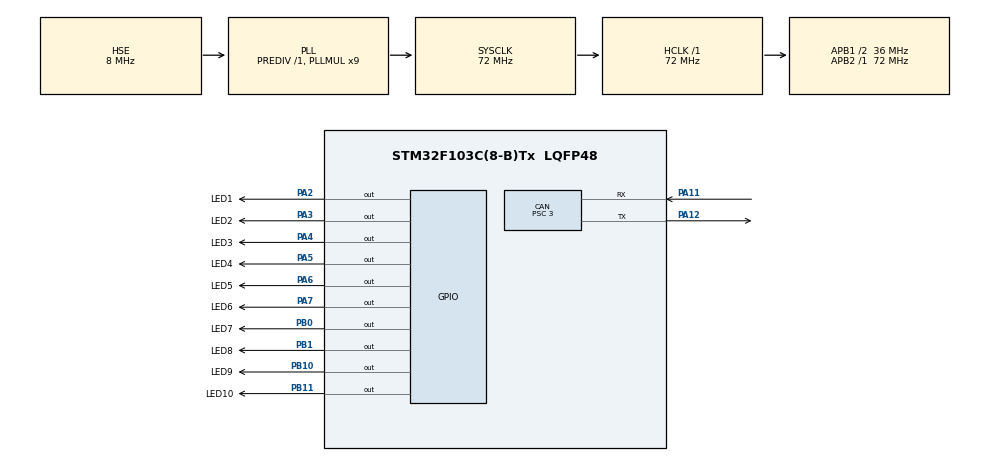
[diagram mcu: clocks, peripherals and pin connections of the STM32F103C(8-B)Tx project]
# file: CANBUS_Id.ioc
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CAN.ABOM=ENABLE
CAN.BS1=CAN_BS1_5TQ
CAN.BS2=CAN_BS2_6TQ
CAN.CalculateTimeBit=1000
CAN.CalculateTimeQuantum=83.33333333333334
CAN.Prescaler=3
Mcu.Family=STM32F1
Mcu.Name=STM32F103C(8-B)Tx
Mcu.Package=LQFP48
NVIC.PriorityGroup=NVIC_PRIORITYGROUP_4
NVIC.USB_LP_CAN1_RX0_IRQn=true\:0\:0\:false\:false\:true\:true
PA11.Mode=Master
PA11.Signal=CAN_RX
PA12.Mode=Master
PA12.Signal=CAN_TX
PA13.Mode=Serial_Wire
PA13.Signal=SYS_JTMS-SWDIO
PA14.Mode=Serial_Wire
PA14.Signal=SYS_JTCK-SWCLK
PA2.GPIO_Label=LED1
PA2.Signal=GPIO_Output
PA3.GPIO_Label=LED2
PA3.Signal=GPIO_Output
PA4.GPIO_Label=LED3
PA4.Signal=GPIO_Output
PA5.GPIO_Label=LED4
PA5.Signal=GPIO_Output
PA6.GPIO_Label=LED5
PA6.Signal=GPIO_Output
PA7.GPIO_Label=LED6
PA7.Signal=GPIO_Output
PB0.GPIO_Label=LED7
PB0.Signal=GPIO_Output
PB1.GPIO_Label=LED8
PB1.Signal=GPIO_Output
PB10.GPIO_Label=LED9
PB10.Signal=GPIO_Output
PB11.GPIO_Label=LED10
PB11.Signal=GPIO_Output
PD0-OSC_IN.Mode=HSE-External-Oscillator
PD0-OSC_IN.Signal=RCC_OSC_IN
PD1-OSC_OUT.Mode=HSE-External-Oscillator
PD1-OSC_OUT.Signal=RCC_OSC_OUT
ProjectManager.HeapSize=0x200
ProjectManager.StackSize=0x400
ProjectManager.TargetToolchain=SW4STM32
RCC.AHBFreq_Value=72000000
RCC.APB1CLKDivider=RCC_HCLK_DIV2
RCC.APB1Freq_Value=36000000
RCC.APB1TimFreq_Value=72000000
RCC.APB2Freq_Value=72000000
RCC.APB2TimFreq_Value=72000000
RCC.HCLKFreq_Value=72000000
RCC.PLLMUL=RCC_PLL_MUL9
RCC.PLLSourceVirtual=RCC_PLLSOURCE_HSE
RCC.SYSCLKFreq_VALUE=72000000
RCC.SYSCLKSource=RCC_SYSCLKSOURCE_PLLCLK
RCC.USBFreq_Value=72000000
board=custom

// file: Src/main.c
/**
  ******************************************************************************
  * @file           : main.c
  * @brief          : Main program body
  ******************************************************************************
  ** This notice applies to any and all portions of this file
  * that are not between comment pairs USER CODE BEGIN and
  * USER CODE END. Other portions of this file, whether
  * inserted by the user or by software development tools
  * are owned by their respective copyright owners.
  *
  * COPYRIGHT(c) 2019 STMicroelectronics
  *
  * Redistribution and use in source and binary forms, with or without modification,
  * are permitted provided that the following conditions are met:
  *   1. Redistributions of source code must retain the above copyright notice,
  *      this list of conditions and the following disclaimer.
  *   2. Redistributions in binary form must reproduce the above copyright notice,
  *      this list of conditions and the following disclaimer in the documentation
  *      and/or other materials provided with the distribution.
  *   3. Neither the name of STMicroelectronics nor the names of its contributors
  *      may be used to endorse or promote products derived from this software
  *      without specific prior written permission.
  *
  * THIS SOFTWARE IS PROVIDED BY THE COPYRIGHT HOLDERS AND CONTRIBUTORS "AS IS"
  * AND ANY EXPRESS OR IMPLIED WARRANTIES, INCLUDING, BUT NOT LIMITED TO, THE
  * IMPLIED WARRANTIES OF MERCHANTABILITY AND FITNESS FOR A PARTICULAR PURPOSE ARE
  * DISCLAIMED. IN NO EVENT SHALL THE COPYRIGHT HOLDER OR CONTRIBUTORS BE LIABLE
  * FOR ANY DIRECT, INDIRECT, INCIDENTAL, SPECIAL, EXEMPLARY, OR CONSEQUENTIAL
  * DAMAGES (INCLUDING, BUT NOT LIMITED TO, PROCUREMENT OF SUBSTITUTE GOODS OR
  * SERVICES; LOSS OF USE, DATA, OR PROFITS; OR BUSINESS INTERRUPTION) HOWEVER
  * CAUSED AND ON ANY THEORY OF LIABILITY, WHETHER IN CONTRACT, STRICT LIABILITY,
  * OR TORT (INCLUDING NEGLIGENCE OR OTHERWISE) ARISING IN ANY WAY OUT OF THE USE
  * OF THIS SOFTWARE, EVEN IF ADVISED OF THE POSSIBILITY OF SUCH DAMAGE.
  *
  ******************************************************************************
  */
#include "main.h"
#include "stm32f1xx_hal.h"

CAN_HandleTypeDef hcan;

/* USER CODE BEGIN PV */
/* Private variables ---------------------------------------------------------*/
uint32_t number = 0;
/* USER CODE END PV */

void SystemClock_Config(void);
static void MX_GPIO_Init(void);
static void MX_CAN_Init(void);

/* USER CODE BEGIN PFP */
/* Private function prototypes -----------------------------------------------*/
static void CAN_Config(void);

/* USER CODE END PFP */

int main(void)
{

  /* MCU Configuration----------------------------------------------------------*/

  /* Reset of all peripherals, Initializes the Flash interface and the Systick. */
  HAL_Init();

  /* Configure the system clock */
  SystemClock_Config();

  /* Initialize all configured peripherals */
  MX_GPIO_Init();
  MX_CAN_Init();
  /* USER CODE BEGIN 2 */

  /*Delay para esperar FT500 estabelecer comunicacao com WB-O2*/
  HAL_Delay(4000);

  CAN_Config();

	if (HAL_CAN_Receive_IT(&hcan, CAN_FIFO0) != HAL_OK)
	{
	  /* Reception Error */
	  Error_Handler();
	}

  /* USER CODE END 2 */

  /* Infinite loop */
  while (1)
  {

  }

}

void SystemClock_Config(void)
{

  RCC_OscInitTypeDef RCC_OscInitStruct;
  RCC_ClkInitTypeDef RCC_ClkInitStruct;

    /**Initializes the CPU, AHB and APB busses clocks
    */
  RCC_OscInitStruct.OscillatorType = RCC_OSCILLATORTYPE_HSE;
  RCC_OscInitStruct.HSEState = RCC_HSE_ON;
  RCC_OscInitStruct.HSEPredivValue = RCC_HSE_PREDIV_DIV1;
  RCC_OscInitStruct.HSIState = RCC_HSI_ON;
  RCC_OscInitStruct.PLL.PLLState = RCC_PLL_ON;
  RCC_OscInitStruct.PLL.PLLSource = RCC_PLLSOURCE_HSE;
  RCC_OscInitStruct.PLL.PLLMUL = RCC_PLL_MUL9;
  if (HAL_RCC_OscConfig(&RCC_OscInitStruct) != HAL_OK)
  {
    _Error_Handler(__FILE__, __LINE__);
  }

    /**Initializes the CPU, AHB and APB busses clocks
    */
  RCC_ClkInitStruct.ClockType = RCC_CLOCKTYPE_HCLK|RCC_CLOCKTYPE_SYSCLK
                              |RCC_CLOCKTYPE_PCLK1|RCC_CLOCKTYPE_PCLK2;
  RCC_ClkInitStruct.SYSCLKSource = RCC_SYSCLKSOURCE_PLLCLK;
  RCC_ClkInitStruct.AHBCLKDivider = RCC_SYSCLK_DIV1;
  RCC_ClkInitStruct.APB1CLKDivider = RCC_HCLK_DIV2;
  RCC_ClkInitStruct.APB2CLKDivider = RCC_HCLK_DIV1;

  if (HAL_RCC_ClockConfig(&RCC_ClkInitStruct, FLASH_LATENCY_2) != HAL_OK)
  {
    _Error_Handler(__FILE__, __LINE__);
  }

    /**Configure the Systick interrupt time
    */
  HAL_SYSTICK_Config(HAL_RCC_GetHCLKFreq()/1000);

    /**Configure the Systick
    */
  HAL_SYSTICK_CLKSourceConfig(SYSTICK_CLKSOURCE_HCLK);

  /* SysTick_IRQn interrupt configuration */
  HAL_NVIC_SetPriority(SysTick_IRQn, 0, 0);
}

/* CAN init function */
static void MX_CAN_Init(void)
{

  hcan.Instance = CAN1;
  hcan.Init.Prescaler = 3;
  hcan.Init.Mode = CAN_MODE_NORMAL;
  hcan.Init.SJW = CAN_SJW_1TQ;
  hcan.Init.BS1 = CAN_BS1_5TQ;
  hcan.Init.BS2 = CAN_BS2_6TQ;
  hcan.Init.TTCM = DISABLE;
  hcan.Init.ABOM = ENABLE;
  hcan.Init.AWUM = DISABLE;
  hcan.Init.NART = DISABLE;
  hcan.Init.RFLM = DISABLE;
  hcan.Init.TXFP = DISABLE;
  if (HAL_CAN_Init(&hcan) != HAL_OK)
  {
    _Error_Handler(__FILE__, __LINE__);
  }

}

/** Configure pins as
        * Analog
        * Input
        * Output
        * EVENT_OUT
        * EXTI
*/
static void MX_GPIO_Init(void)
{

  GPIO_InitTypeDef GPIO_InitStruct;

  /* GPIO Ports Clock Enable */
  __HAL_RCC_GPIOD_CLK_ENABLE();
  __HAL_RCC_GPIOA_CLK_ENABLE();
  __HAL_RCC_GPIOB_CLK_ENABLE();

  /*Configure GPIO pin Output Level */
  HAL_GPIO_WritePin(GPIOA, LED1_Pin|LED2_Pin|LED3_Pin|LED4_Pin
                          |LED5_Pin|LED6_Pin, GPIO_PIN_RESET);

  /*Configure GPIO pin Output Level */
  HAL_GPIO_WritePin(GPIOB, LED7_Pin|LED8_Pin|LED9_Pin|LED10_Pin, GPIO_PIN_RESET);

  /*Configure GPIO pins : LED1_Pin LED2_Pin LED3_Pin LED4_Pin
                           LED5_Pin LED6_Pin */
  GPIO_InitStruct.Pin = LED1_Pin|LED2_Pin|LED3_Pin|LED4_Pin
                          |LED5_Pin|LED6_Pin;
  GPIO_InitStruct.Mode = GPIO_MODE_OUTPUT_PP;
  GPIO_InitStruct.Pull = GPIO_NOPULL;
  GPIO_InitStruct.Speed = GPIO_SPEED_FREQ_LOW;
  HAL_GPIO_Init(GPIOA, &GPIO_InitStruct);

  /*Configure GPIO pins : LED7_Pin LED8_Pin LED9_Pin LED10_Pin */
  GPIO_InitStruct.Pin = LED7_Pin|LED8_Pin|LED9_Pin|LED10_Pin;
  GPIO_InitStruct.Mode = GPIO_MODE_OUTPUT_PP;
  GPIO_InitStruct.Pull = GPIO_NOPULL;
  GPIO_InitStruct.Speed = GPIO_SPEED_FREQ_LOW;
  HAL_GPIO_Init(GPIOB, &GPIO_InitStruct);

}

/* USER CODE BEGIN 4 */

static void CAN_Config(void){

  CAN_FilterConfTypeDef  sFilterConfig;
  static CanTxMsgTypeDef        TxMessage;     //--
  static CanRxMsgTypeDef        RxMessage;     //-- codigo original

  /*##-1- Configure the CAN peripheral #######################################*/
   hcan.pTxMsg = &TxMessage;     //-- codigo original
   hcan.pRxMsg = &RxMessage;	  // --

  /*##-2- Configure the CAN Filter ###########################################*/
  sFilterConfig.FilterNumber = 0;
  sFilterConfig.FilterMode = CAN_FILTERMODE_IDMASK;
  sFilterConfig.FilterScale = CAN_FILTERSCALE_32BIT;
  sFilterConfig.FilterIdHigh = 0x0000;
  sFilterConfig.FilterIdLow = 0x0000;
  sFilterConfig.FilterMaskIdHigh = 0x0000;
  sFilterConfig.FilterMaskIdLow = 0x0000;
  sFilterConfig.FilterFIFOAssignment = 0;
  sFilterConfig.FilterActivation = ENABLE;
  sFilterConfig.BankNumber = 14;

  if (HAL_CAN_ConfigFilter(&hcan, &sFilterConfig) != HAL_OK)
  {
    /* Filter configuration Error */
    Error_Handler();
  }

  /*##-3- Configure Transmission process #####################################*/
  hcan.pTxMsg->StdId = 0x001;
  hcan.pTxMsg->ExtId = 0x001;
  hcan.pTxMsg->RTR = CAN_RTR_DATA;
  /*configurando como extended id (29 bits)*/
  hcan.pTxMsg->IDE = CAN_ID_EXT;
  hcan.pTxMsg->DLC = 2;
}

void HAL_CAN_RxCpltCallback(CAN_HandleTypeDef *hcan){

	/*Identificação da mensagem enviada pela FT*/
	if(((hcan->pRxMsg->ExtId) >> 19) == 0x280){
		HAL_GPIO_TogglePin(GPIOA, LED1_Pin);
	}

	/*Identificação da mensagem enviada pela placa da Extensometria*/
	else if(((hcan->pRxMsg->ExtId) >> 19) == 0x300){
		HAL_GPIO_TogglePin(GPIOA, LED2_Pin);
	}

	else if(((hcan->pRxMsg->ExtId) >> 19) == 0x302){
		HAL_GPIO_TogglePin(GPIOA, LED3_Pin);
	}

	/*else if(((hcan->pRxMsg->ExtId) >> 19) == 0x280){
		HAL_GPIO_TogglePin(GPIOA, LED4_Pin);
	}
	else if(((hcan->pRxMsg->ExtId) >> 19) == 0x300){
		HAL_GPIO_TogglePin(GPIOA, LED5_Pin);
	}
	else if(((hcan->pRxMsg->ExtId) >> 19) == 0x302){
		HAL_GPIO_TogglePin(GPIOA, LED6_Pin);
	}
	else if(((hcan->pRxMsg->ExtId) >> 19) == 0x280){
		HAL_GPIO_TogglePin(GPIOB, LED7_Pin);
	}
	else if(((hcan->pRxMsg->ExtId) >> 19) == 0x300){
		HAL_GPIO_TogglePin(GPIOB, LED8_Pin);
	}
	else if(((hcan->pRxMsg->ExtId) >> 19) == 0x302){
		HAL_GPIO_TogglePin(GPIOB, LED9_Pin);
	}
	else if(((hcan->pRxMsg->ExtId) >> 19) == 0x302){
		HAL_GPIO_TogglePin(GPIOB, LED10_Pin);
	}*/

  /* Receive */
  if (HAL_CAN_Receive_IT(hcan, CAN_FIFO0) != HAL_OK)
  {
    /* Reception Error */
	HAL_GPIO_TogglePin(GPIOA, GPIO_PIN_0);
    Error_Handler();
  }
}

/* USER CODE END 4 */

void _Error_Handler(char *file, int line)
{
  /* USER CODE BEGIN Error_Handler_Debug */
  /* User can add his own implementation to report the HAL error return state */
  while(1)
  {
		HAL_GPIO_TogglePin(GPIOA, LED5_Pin);
		HAL_Delay(100);
  }
  /* USER CODE END Error_Handler_Debug */
}

/************************ (C) COPYRIGHT STMicroelectronics *****END OF FILE****/
